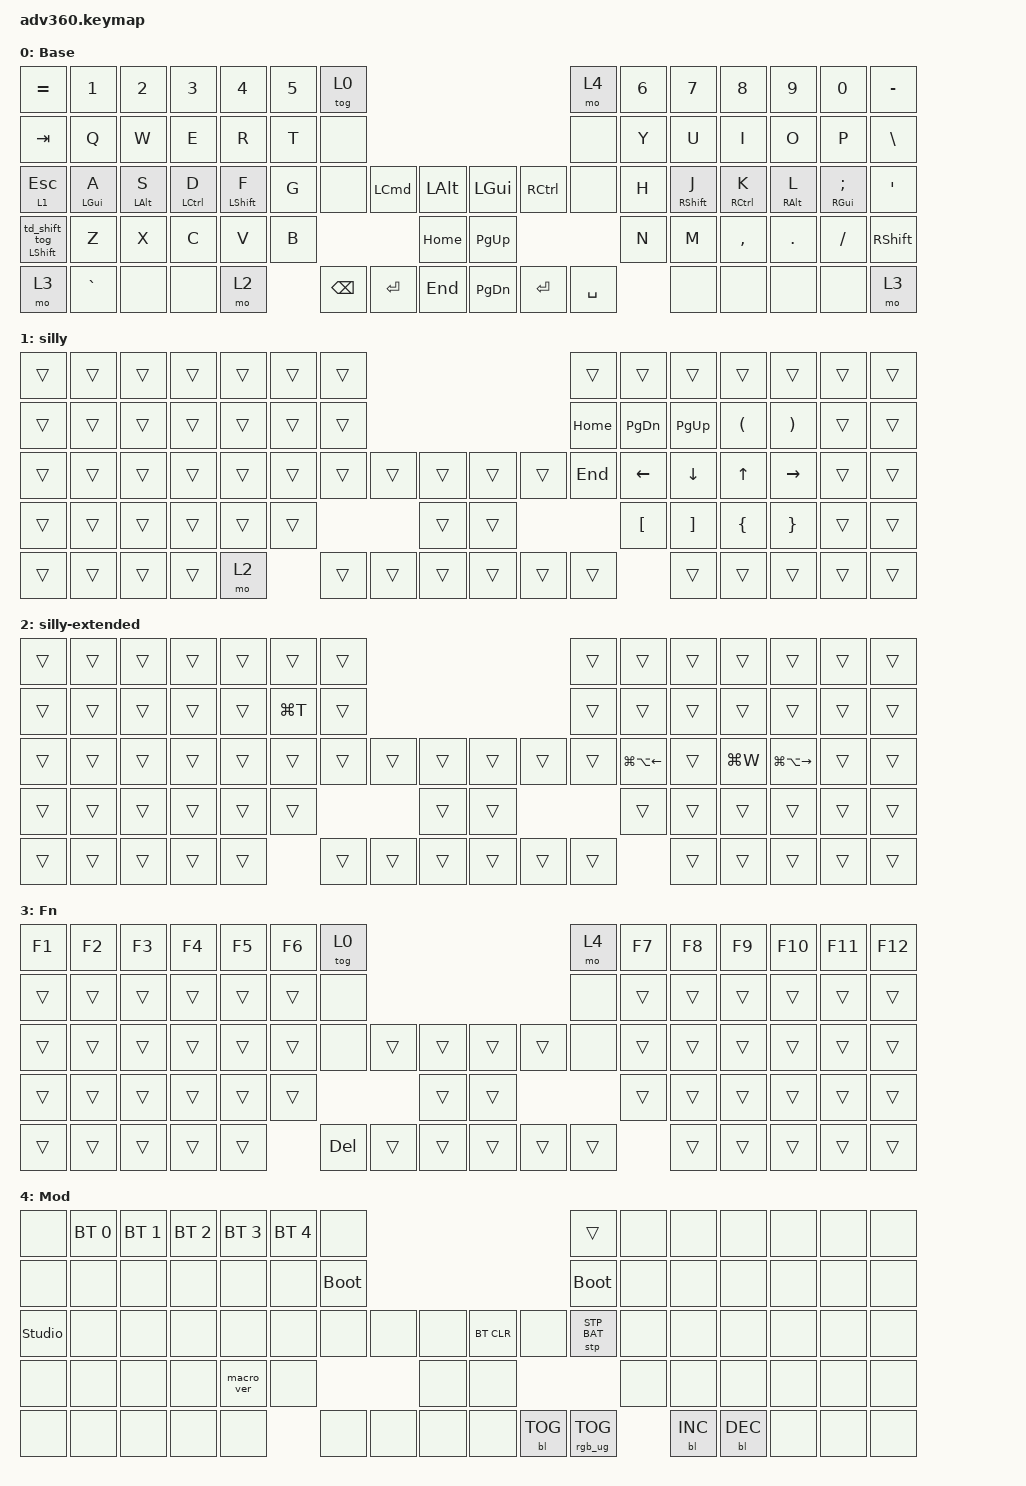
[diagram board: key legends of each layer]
#include <dt-bindings/zmk/stp.h>
#include <behaviors.dtsi>
#include <dt-bindings/zmk/backlight.h>
#include <dt-bindings/zmk/bt.h>
#include <dt-bindings/zmk/keys.h>
#include <dt-bindings/zmk/rgb.h>

/ {
    behaviors {
        #include "macros.dtsi"
      #include "version.dtsi"

        hm: homerow_mods {
            compatible = "zmk,behavior-hold-tap";
            label = "HOMEROW_MODS";
            #binding-cells = <2>;
            tapping-term-ms = <200>;
            flavor = "balanced";
            bindings = <&kp>, <&kp>;

            quick-tap-ms = <200>;
        };

        toggle_shift: toggle_shift {
            compatible = "zmk,behavior-key-toggle";
            label = "TOGGLE_SHIFT";
            #binding-cells = <1>;
            toggle-mode = "flip";
        };

        // tap side: 1x tap = nothing, 2x tap = flip shift lock on/off
        td_shift_tog: td_shift_toggle {
            compatible = "zmk,behavior-tap-dance";
            label = "TD_SHIFT_TOGGLE";
            #binding-cells = <0>;
            tapping-term-ms = <300>;
            bindings = <&none>, <&toggle_shift LSHFT>;
        };

        // hold = regular shift, double tap = shift lock toggle
        lsh: lshift_hold_toggle {
            compatible = "zmk,behavior-hold-tap";
            label = "LSHIFT_HOLD_TOGGLE";
            #binding-cells = <2>; // hold-tap requires 2; tap-dance side ignores the 2nd
            tapping-term-ms = <200>;
            quick-tap-ms = <0>;
            flavor = "balanced";
            bindings = <&kp>, <&td_shift_tog>;
        };
    };

    // Fast F+; and F+/ chords. With flavor "balanced", the F home-row mod only
    // resolves to LSHFT if F is held past tapping-term-ms (200) or the other
    // key is released while F is still held. Releasing F first resolves the
    // hold-tap as a tap and emits a literal "f;" / "f/" instead. These combos
    // fire whenever F and ; (or /) are held together within timeout-ms and send
    // the shifted character directly, regardless of press/release order.
    // Key positions: 32 = F, 44 = ;, 58 = / (adv360.dtsi matrix transform).
    combos {
        compatible = "zmk,combos";

        colon {
            bindings = <&kp COLON>;
            key-positions = <32 44>;
            timeout-ms = <100>;
        };

        question {
            bindings = <&kp QUESTION>;
            key-positions = <32 58>;
            timeout-ms = <100>;
        };
    };

    keymap {
        compatible = "zmk,keymap";

        default_layer {
            display-name = "Base";
            bindings = <
&kp EQUAL            &kp N1          &kp N2          &kp N3              &kp N4            &kp N5  &tog 0                                                          &mo 4      &kp N6  &kp N7             &kp N8               &kp N9           &kp N0              &kp MINUS
&kp TAB              &kp Q           &kp W           &kp E               &kp R             &kp T   &none                                                           &none      &kp Y   &kp U              &kp I                &kp O            &kp P               &kp BSLH
&lt 1 ESC            &hm LEFT_GUI A  &hm LEFT_ALT S  &hm LEFT_CONTROL D  &hm LEFT_SHIFT F  &kp G   &none     &kp LEFT_COMMAND  &kp LALT      &kp LGUI   &kp RCTRL  &none      &kp H   &hm RIGHT_SHIFT J  &hm RIGHT_CONTROL K  &hm RIGHT_ALT L  &hm RIGHT_GUI SEMI  &kp SQT
&lsh LSHFT 0         &kp Z           &kp X           &kp C               &kp V             &kp B                               &kp HOME      &kp PG_UP                        &kp N   &kp M              &kp COMMA            &kp DOT          &kp FSLH            &kp RSHFT
&mo 3                &kp GRAVE       &none           &none               &mo 2                     &kp BSPC  &kp ENTER         &kp END       &kp PG_DN  &kp ENTER  &kp SPACE          &none              &none                &none            &none               &mo 3
            >;
        };

        silly {
            bindings = <
&trans  &trans  &trans  &trans  &trans  &trans  &trans                                      &trans    &trans            &trans             &trans                &trans                 &trans  &trans
&trans  &trans  &trans  &trans  &trans  &trans  &trans                                      &kp HOME  &kp PAGE_DOWN     &kp PAGE_UP        &kp LEFT_PARENTHESIS  &kp RIGHT_PARENTHESIS  &trans  &trans
&trans  &trans  &trans  &trans  &trans  &trans  &trans  &trans  &trans      &trans  &trans  &kp END   &kp LEFT          &kp DOWN           &kp UP                &kp RIGHT              &trans  &trans
&trans  &trans  &trans  &trans  &trans  &trans                  &trans      &trans                    &kp LEFT_BRACKET  &kp RIGHT_BRACKET  &kp LEFT_BRACE        &kp RIGHT_BRACE        &trans  &trans
&trans  &trans  &trans  &trans  &mo 2           &trans  &trans  &trans      &trans  &trans  &trans                      &trans             &trans                &trans                 &trans  &trans
            >;
        };

        silly-extended {
            bindings = <
&trans  &trans  &trans  &trans  &trans  &trans     &trans                                      &trans  &trans            &trans  &trans     &trans             &trans  &trans
&trans  &trans  &trans  &trans  &trans  &kp LG(T)  &trans                                      &trans  &trans            &trans  &trans     &trans             &trans  &trans
&trans  &trans  &trans  &trans  &trans  &trans     &trans  &trans  &trans      &trans  &trans  &trans  &kp LG(LA(LEFT))  &trans  &kp LG(W)  &kp LG(LA(RIGHT))  &trans  &trans
&trans  &trans  &trans  &trans  &trans  &trans                     &trans      &trans                  &trans            &trans  &trans     &trans             &trans  &trans
&trans  &trans  &trans  &trans  &trans             &trans  &trans  &trans      &trans  &trans  &trans                    &trans  &trans     &trans             &trans  &trans
            >;
        };

        fn {
            display-name = "Fn";
            bindings = <
&kp F1  &kp F2  &kp F3  &kp F4  &kp F5  &kp F6  &tog 0                                          &mo 4   &kp F7  &kp F8  &kp F9  &kp F10  &kp F11  &kp F12
&trans  &trans  &trans  &trans  &trans  &trans  &none                                           &none   &trans  &trans  &trans  &trans   &trans   &trans
&trans  &trans  &trans  &trans  &trans  &trans  &none       &trans  &trans      &trans  &trans  &none   &trans  &trans  &trans  &trans   &trans   &trans
&trans  &trans  &trans  &trans  &trans  &trans                      &trans      &trans                  &trans  &trans  &trans  &trans   &trans   &trans
&trans  &trans  &trans  &trans  &trans          &kp DELETE  &trans  &trans      &trans  &trans  &trans          &trans  &trans  &trans   &trans   &trans
            >;
        };

        mod {
            display-name = "Mod";
            bindings = <
&none           &bt BT_SEL 0  &bt BT_SEL 1  &bt BT_SEL 2  &bt BT_SEL 3  &bt BT_SEL 4  &none                                                  &trans           &none  &none       &none       &none  &none  &none
&none           &none         &none         &none         &none         &none         &bootloader                                            &bootloader      &none  &none       &none       &none  &none  &none
&studio_unlock  &none         &none         &none         &none         &none         &none        &none  &none      &bt BT_CLR  &none       &stp STP_BAT     &none  &none       &none       &none  &none  &none
&none           &none         &none         &none         &macro_ver    &none                             &none      &none                                    &none  &none       &none       &none  &none  &none
&none           &none         &none         &none         &none                       &none        &none  &none      &none       &bl BL_TOG  &rgb_ug RGB_TOG         &bl BL_INC  &bl BL_DEC  &none  &none  &none
            >;
        };

        extra1 {
            display-name = "Red";
            status = "reserved";
        };

        extra2 {
            display-name = "Purple";
            status = "reserved";
        };

        extra3 {
            display-name = "Cyan";
            status = "reserved";
        };

        extra4 {
            display-name = "Yellow";
            status = "reserved";
        };
    };
};
